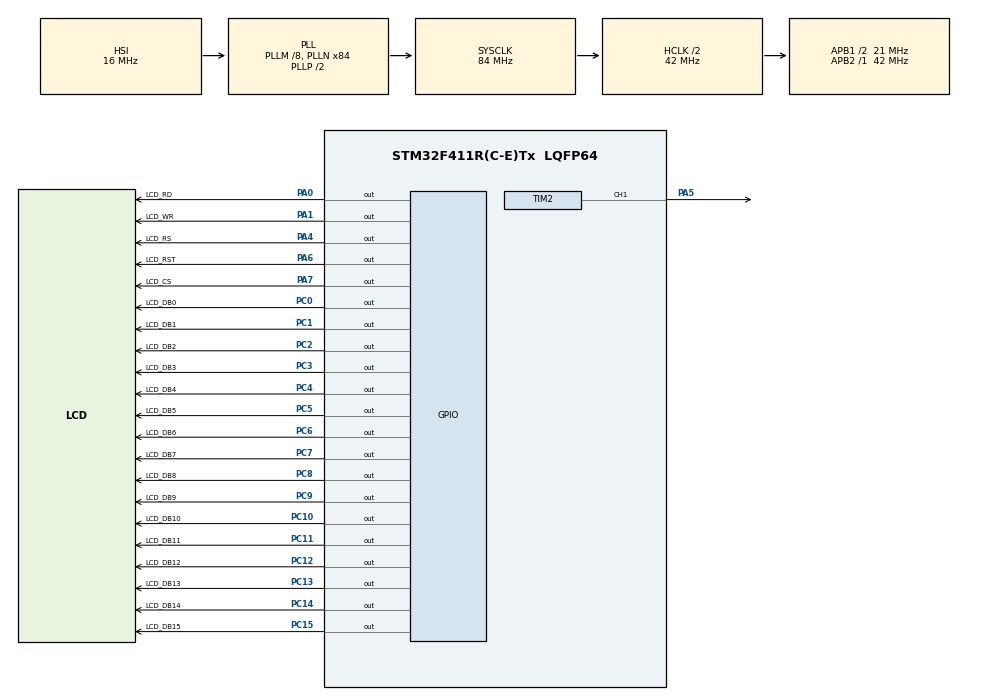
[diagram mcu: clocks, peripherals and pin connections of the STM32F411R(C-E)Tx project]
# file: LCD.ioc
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Mcu.Family=STM32F4
Mcu.Name=STM32F411R(C-E)Tx
Mcu.Package=LQFP64
NVIC.PriorityGroup=NVIC_PRIORITYGROUP_0
PA0-WKUP.GPIO_Label=LCD_RD
PA0-WKUP.Signal=GPIO_Output
PA1.GPIO_Label=LCD_WR
PA1.Signal=GPIO_Output
PA13.GPIO_Label=TMS
PA13.Signal=SYS_JTMS-SWDIO
PA14.GPIO_Label=TCK
PA14.Signal=SYS_JTCK-SWCLK
PA4.GPIO_Label=LCD_RS
PA4.Signal=GPIO_Output
PA5.Signal=S_TIM2_CH1_ETR
PA6.GPIO_Label=LCD_RST
PA6.Signal=GPIO_Output
PA7.GPIO_Label=LCD_CS
PA7.Signal=GPIO_Output
PB3.GPIO_Label=SWO
PB3.Signal=SYS_JTDO-SWO
PC0.GPIO_Label=LCD_DB0
PC0.Signal=GPIO_Output
PC1.GPIO_Label=LCD_DB1
PC1.Signal=GPIO_Output
PC10.GPIO_Label=LCD_DB10
PC10.Signal=GPIO_Output
PC11.GPIO_Label=LCD_DB11
PC11.Signal=GPIO_Output
PC12.GPIO_Label=LCD_DB12
PC12.Signal=GPIO_Output
PC13-ANTI_TAMP.GPIO_Label=LCD_DB13
PC13-ANTI_TAMP.Signal=GPIO_Output
PC14-OSC32_IN.GPIO_Label=LCD_DB14
PC14-OSC32_IN.Signal=GPIO_Output
PC15-OSC32_OUT.GPIO_Label=LCD_DB15
PC15-OSC32_OUT.Signal=GPIO_Output
PC2.GPIO_Label=LCD_DB2
PC2.Signal=GPIO_Output
PC3.GPIO_Label=LCD_DB3
PC3.Signal=GPIO_Output
PC4.GPIO_Label=LCD_DB4
PC4.Signal=GPIO_Output
PC5.GPIO_Label=LCD_DB5
PC5.Signal=GPIO_Output
PC6.GPIO_Label=LCD_DB6
PC6.Signal=GPIO_Output
PC7.GPIO_Label=LCD_DB7
PC7.Signal=GPIO_Output
PC8.GPIO_Label=LCD_DB8
PC8.Signal=GPIO_Output
PC9.GPIO_Label=LCD_DB9
PC9.Signal=GPIO_Output
PH0\ -\ OSC_IN.Signal=RCC_OSC_IN
PH1\ -\ OSC_OUT.Signal=RCC_OSC_OUT
ProjectManager.HeapSize=0x200
ProjectManager.StackSize=0x400
ProjectManager.TargetToolchain=SW4STM32
RCC.48MHZClocksFreq_Value=42000000
RCC.AHBCLKDivider=RCC_SYSCLK_DIV2
RCC.AHBFreq_Value=42000000
RCC.APB1CLKDivider=RCC_HCLK_DIV2
RCC.APB1Freq_Value=21000000
RCC.APB1TimFreq_Value=42000000
RCC.APB2Freq_Value=42000000
RCC.APB2TimFreq_Value=42000000
RCC.CortexFreq_Value=42000000
RCC.FLatency-AdvancedSettings=FLASH_LATENCY_1
RCC.HCLKFreq_Value=42000000
RCC.HSE_VALUE=8000000
RCC.HSI_VALUE=16000000
RCC.LSE_VALUE=32768
RCC.PLLM=8
RCC.PLLN=84
RCC.SYSCLKFreq_VALUE=84000000
RCC.SYSCLKSource=RCC_SYSCLKSOURCE_PLLCLK
RCC.VCOOutputFreq_Value=168000000
SH.S_TIM2_CH1_ETR.0=TIM2_CH1,PWM Generation1 CH1
TIM2.Period=21000000
TIM2.Pulse-PWM\ Generation1\ CH1=21000000
board=NUCLEO-F411RE

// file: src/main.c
/**
  ******************************************************************************
  * File Name          : main.c
  * Description        : Main program body
  ******************************************************************************
  *
  * COPYRIGHT(c) 2016 STMicroelectronics
  *
  * Redistribution and use in source and binary forms, with or without modification,
  * are permitted provided that the following conditions are met:
  *   1. Redistributions of source code must retain the above copyright notice,
  *      this list of conditions and the following disclaimer.
  *   2. Redistributions in binary form must reproduce the above copyright notice,
  *      this list of conditions and the following disclaimer in the documentation
  *      and/or other materials provided with the distribution.
  *   3. Neither the name of STMicroelectronics nor the names of its contributors
  *      may be used to endorse or promote products derived from this software
  *      without specific prior written permission.
  *
  * THIS SOFTWARE IS PROVIDED BY THE COPYRIGHT HOLDERS AND CONTRIBUTORS "AS IS"
  * AND ANY EXPRESS OR IMPLIED WARRANTIES, INCLUDING, BUT NOT LIMITED TO, THE
  * IMPLIED WARRANTIES OF MERCHANTABILITY AND FITNESS FOR A PARTICULAR PURPOSE ARE
  * DISCLAIMED. IN NO EVENT SHALL THE COPYRIGHT HOLDER OR CONTRIBUTORS BE LIABLE
  * FOR ANY DIRECT, INDIRECT, INCIDENTAL, SPECIAL, EXEMPLARY, OR CONSEQUENTIAL
  * DAMAGES (INCLUDING, BUT NOT LIMITED TO, PROCUREMENT OF SUBSTITUTE GOODS OR
  * SERVICES; LOSS OF USE, DATA, OR PROFITS; OR BUSINESS INTERRUPTION) HOWEVER
  * CAUSED AND ON ANY THEORY OF LIABILITY, WHETHER IN CONTRACT, STRICT LIABILITY,
  * OR TORT (INCLUDING NEGLIGENCE OR OTHERWISE) ARISING IN ANY WAY OUT OF THE USE
  * OF THIS SOFTWARE, EVEN IF ADVISED OF THE POSSIBILITY OF SUCH DAMAGE.
  *
  ******************************************************************************
  */
#include "main.h"
#include "stm32f4xx_hal.h"
#include "tim.h"
#include "gpio.h"

/* USER CODE BEGIN Includes */
#include <math.h>
#include "LCD.h"
/* USER CODE END Includes */

/* USER CODE BEGIN PV */
/* Private variables ---------------------------------------------------------*/

/* USER CODE END PV */

void SystemClock_Config(void);
void Error_Handler(void);

/* USER CODE BEGIN PFP */
/* Private function prototypes -----------------------------------------------*/

/* USER CODE END PFP */

int main(void)
{

  /* MCU Configuration----------------------------------------------------------*/

  /* Reset of all peripherals, Initializes the Flash interface and the Systick. */
  HAL_Init();

  /* Configure the system clock */
  SystemClock_Config();

  /* Initialize all configured peripherals */
  MX_GPIO_Init();
  MX_TIM2_Init();

  /* USER CODE BEGIN 2 */

  HAL_TIM_PWM_Start(&htim2, TIM_CHANNEL_1);

  // for(uint32_t pulse = 0; pulse <= 100000; pulse+=100)
  // {
  //   __HAL_TIM_SET_COMPARE(&htim2, TIM_CHANNEL_1, pulse);
  //   _delay_ms(10);
  // }

  // const int period = 100000;

  // for (float arg = 0;;arg += 0.0001F)
  // {
  //     uint32_t pulseWidth = (period / 2) * (1 + sinf(arg));
  //   __HAL_TIM_SET_COMPARE(&htim2, TIM_CHANNEL_1, pulseWidth);
  // }

  orientation=LANDSCAPE;

  UTFT_init();

  UTFT_initLCD(orientation);
  setFrontColor(0, 0, 0);
  setBackColor(255, 255, 255);

  uint16_t colors[] = {
    VGA_BLACK,
    VGA_WHITE,
    VGA_RED,
    VGA_GREEN,
    VGA_BLUE,
    VGA_SILVER,
    VGA_GRAY,
    VGA_MAROON,
    VGA_YELLOW,
    VGA_OLIVE,
    VGA_LIME,
    VGA_AQUA,
    VGA_TEAL,
    VGA_NAVY,
    VGA_FUCHSIA,
    VGA_PURPLE,
  };

  uint16_t color = 0;

  for (color = 0; color < sizeof(colors)/sizeof(colors[0]); color++)
  {
    fillScreen(colors[color]);
    _delay_ms(200);
  }

  clrScr();

  // setFont(SmallFont);

  // Clear the screen and draw the frame

  // Draw crosshairs
  setFrontColor(0, 0, 255);
  setBackColor(0, 0, 0);
  drawLine(239, 15, 239, 255);
  drawLine(1, 135, 478, 135);
  for (int i=9; i<470; i+=10)
    drawLine(i, 133, i, 138);
  for (int i=15; i<256; i+=10)
    drawLine(237, i, 241, i);

  // Draw sin-, cos- and tan-lines
  setFrontColor(0,255,255);
  // print("Sin", 5, 15);
  for (int i=1; i<478; i++)
  {
    drawPixel(i,135+(sinf(((i*1.13)*3.14)/180)*95));
  }

  setFrontColor(255,0,0);
  // print("Cos", 5, 27);
  for (int i=1; i<478; i++)
  {
    drawPixel(i,135+(cosf(((i*1.13)*3.14)/180)*95));
  }

  setFrontColor(255,255,0);
  // print("Tan", 5, 39);
  for (int i=1; i<478; i++)
  {
    drawPixel(i,135+(tanf(((i*1.13)*3.14)/180)));
  }

  _delay_ms(1000);
  clrScr();

  // Draw crosshairs
  setFrontColor(0, 0, 255);
  setBackColor(0, 0, 0);
  drawLine(239, 15, 239, 255);
  drawLine(1, 135, 478, 135);
  for (int i=9; i<470; i+=10)
    drawLine(i, 133, i, 138);
  for (int i=15; i<256; i+=10)
    drawLine(237, i, 241, i);

  // Draw a moving sinewave
  int buf[478];
  int x=1;
  int y=1;
  for (int i=1; i<(478*20); i++)
  {
    x++;
    if (x==479)
      x=1;
    if (i>479)
    {
      if ((x==239)||(buf[x-1]==135))
        setFrontColor(0,0,255);
      else
        setFrontColor(0,0,0);

      drawPixel(x,buf[x-1]);
    }
    setFrontColor(255,0,0);
    y=135+(sinf(((i*1.65)*3.14)/180)*(90-(i / 100)));
    drawPixel(x,y);
    buf[x-1]=y;
  }

  _delay_ms(1000);

  /* USER CODE END 2 */

  /* Infinite loop */
  while (1)
  {

  }

}

/** System Clock Configuration
*/
void SystemClock_Config(void)
{

  RCC_OscInitTypeDef RCC_OscInitStruct;
  RCC_ClkInitTypeDef RCC_ClkInitStruct;

    /**Configure the main internal regulator output voltage
    */
  __HAL_RCC_PWR_CLK_ENABLE();

  __HAL_PWR_VOLTAGESCALING_CONFIG(PWR_REGULATOR_VOLTAGE_SCALE1);

    /**Initializes the CPU, AHB and APB busses clocks
    */
  RCC_OscInitStruct.OscillatorType = RCC_OSCILLATORTYPE_HSI;
  RCC_OscInitStruct.HSIState = RCC_HSI_ON;
  RCC_OscInitStruct.HSICalibrationValue = 16;
  RCC_OscInitStruct.PLL.PLLState = RCC_PLL_ON;
  RCC_OscInitStruct.PLL.PLLSource = RCC_PLLSOURCE_HSI;
  RCC_OscInitStruct.PLL.PLLM = 8;
  RCC_OscInitStruct.PLL.PLLN = 84;
  RCC_OscInitStruct.PLL.PLLP = RCC_PLLP_DIV2;
  RCC_OscInitStruct.PLL.PLLQ = 4;
  if (HAL_RCC_OscConfig(&RCC_OscInitStruct) != HAL_OK)
  {
    Error_Handler();
  }

    /**Initializes the CPU, AHB and APB busses clocks
    */
  RCC_ClkInitStruct.ClockType = RCC_CLOCKTYPE_HCLK|RCC_CLOCKTYPE_SYSCLK
                              |RCC_CLOCKTYPE_PCLK1|RCC_CLOCKTYPE_PCLK2;
  RCC_ClkInitStruct.SYSCLKSource = RCC_SYSCLKSOURCE_PLLCLK;
  RCC_ClkInitStruct.AHBCLKDivider = RCC_SYSCLK_DIV2;
  RCC_ClkInitStruct.APB1CLKDivider = RCC_HCLK_DIV2;
  RCC_ClkInitStruct.APB2CLKDivider = RCC_HCLK_DIV1;

  if (HAL_RCC_ClockConfig(&RCC_ClkInitStruct, FLASH_LATENCY_1) != HAL_OK)
  {
    Error_Handler();
  }

    /**Configure the Systick interrupt time
    */
  HAL_SYSTICK_Config(HAL_RCC_GetHCLKFreq()/1000);

    /**Configure the Systick
    */
  HAL_SYSTICK_CLKSourceConfig(SYSTICK_CLKSOURCE_HCLK);

  /* SysTick_IRQn interrupt configuration */
  HAL_NVIC_SetPriority(SysTick_IRQn, 0, 0);
}

void Error_Handler(void)
{
  while(1)
  {
  }
}

/************************ (C) COPYRIGHT STMicroelectronics *****END OF FILE****/
